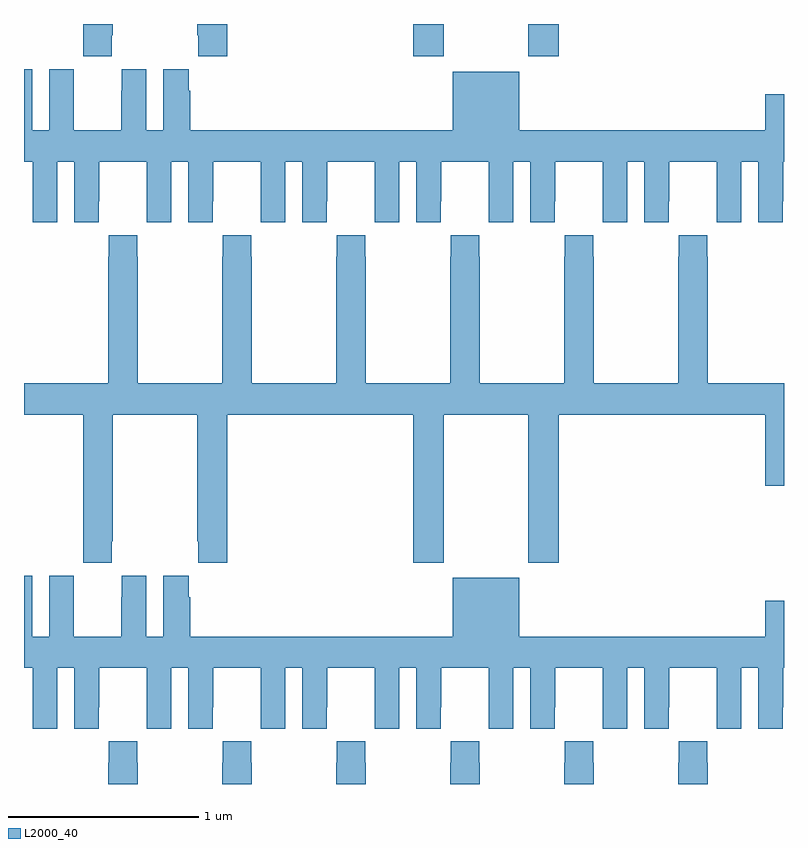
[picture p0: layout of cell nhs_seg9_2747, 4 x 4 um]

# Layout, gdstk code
import gdstk
lib = gdstk.Library(unit=1e-6, precision=1e-09)
def R(c, l, rs):  # rectangles x0, y0, x1, y1
    for r in rs: c.add(gdstk.rectangle(r[:2], r[2:], *l))
def P(c, l, *ps):  # polygons
    for p in ps: c.add(gdstk.Polygon(p, *l))
L2000_40 = (2000, 40)

nhs_seg9_2747 = lib.new_cell('nhs_seg9_2747')
R(nhs_seg9_2747, L2000_40, [(271.049,1174.329,271.209,1174.5), (271.654,1174.329,271.814,1174.5)])
P(nhs_seg9_2747, L2000_40, [(269.463,1174.441),(269.466,1174.441),(269.466,1174.5),(269.311,1174.5),(269.311,1174.441),(269.313,1174.441),(269.313,1174.329),(269.463,1174.329)],
  [(270.071,1174.5),(269.911,1174.5),(269.911,1174.441),(269.917,1174.441),(269.917,1174.329),(270.071,1174.329)],
  [(269.876,1174.148),(269.866,1174.148),(269.866,1174.261),(269.732,1174.261),(269.732,1173.94),(269.644,1173.94),(269.644,1174.261),(269.514,1174.261),(269.514,1174.148),(269.513,1174.148),(269.513,1173.94),(269.263,1173.94),(269.263,1174.148),(269.262,1174.148),(269.262,1174.261),(269.132,1174.261),(269.132,1173.94),(269.044,1173.94),(269.044,1174.261),(269,1174.261),(269,1173.776),(269.045,1173.776),(269.045,1173.568),(269.046,1173.568),(269.046,1173.456),(269.176,1173.456),(269.176,1173.776),(269.264,1173.776),(269.264,1173.456),(269.394,1173.456),(269.394,1173.568),(269.395,1173.568),(269.395,1173.776),(269.645,1173.776),(269.645,1173.568),(269.646,1173.568),(269.646,1173.456),(269.776,1173.456),(269.776,1173.776),(269.864,1173.776),(269.864,1173.456),(269.994,1173.456),(269.994,1173.568),(269.995,1173.568),(269.995,1173.776),(270.245,1173.776),(270.245,1173.568),(270.246,1173.568),(270.246,1173.456),(270.376,1173.456),(270.376,1173.776),(270.464,1173.776),(270.464,1173.456),(270.594,1173.456),(270.594,1173.568),(270.595,1173.568),(270.595,1173.776),(270.845,1173.776),(270.845,1173.568),(270.846,1173.568),(270.846,1173.456),(270.976,1173.456),(270.976,1173.776),(271.064,1173.776),(271.064,1173.456),(271.194,1173.456),(271.194,1173.568),(271.195,1173.568),(271.195,1173.776),(271.445,1173.776),(271.445,1173.568),(271.446,1173.568),(271.446,1173.456),(271.576,1173.456),(271.576,1173.776),(271.664,1173.776),(271.664,1173.456),(271.794,1173.456),(271.794,1173.568),(271.795,1173.568),(271.795,1173.776),(272.045,1173.776),(272.045,1173.568),(272.046,1173.568),(272.046,1173.456),(272.176,1173.456),(272.176,1173.776),(272.264,1173.776),(272.264,1173.456),(272.394,1173.456),(272.394,1173.568),(272.395,1173.568),(272.395,1173.776),(272.645,1173.776),(272.645,1173.568),(272.646,1173.568),(272.646,1173.456),(272.776,1173.456),(272.776,1173.776),(272.864,1173.776),(272.864,1173.456),(272.994,1173.456),(272.994,1173.568),(272.995,1173.568),(272.995,1173.776),(273,1173.776),(273,1174.129),(272.9,1174.129),(272.9,1173.94),(271.606,1173.94),(271.606,1174.249),(271.256,1174.249),(271.256,1173.94),(269.876,1173.94)],
  [(269.445,1173.275),(269.443,1173.275),(269.443,1172.608),(269,1172.608),(269,1172.444),(269.311,1172.444),(269.311,1171.777),(269.313,1171.777),(269.313,1171.665),(269.463,1171.665),(269.463,1171.777),(269.466,1171.777),(269.466,1172.444),(269.911,1172.444),(269.911,1171.777),(269.917,1171.777),(269.917,1171.665),(270.071,1171.665),(270.071,1172.444),(271.049,1172.444),(271.049,1171.665),(271.209,1171.665),(271.209,1172.444),(271.654,1172.444),(271.654,1171.665),(271.814,1171.665),(271.814,1172.444),(272.9,1172.444),(272.9,1172.07),(273,1172.07),(273,1172.608),(272.598,1172.608),(272.598,1173.275),(272.595,1173.275),(272.595,1173.388),(272.445,1173.388),(272.445,1173.275),(272.443,1173.275),(272.443,1172.608),(271.998,1172.608),(271.998,1173.275),(271.995,1173.275),(271.995,1173.388),(271.845,1173.388),(271.845,1173.275),(271.843,1173.275),(271.843,1172.608),(271.398,1172.608),(271.398,1173.275),(271.395,1173.275),(271.395,1173.388),(271.245,1173.388),(271.245,1173.275),(271.243,1173.275),(271.243,1172.608),(270.798,1172.608),(270.798,1173.275),(270.795,1173.275),(270.795,1173.388),(270.645,1173.388),(270.645,1173.275),(270.643,1173.275),(270.643,1172.608),(270.198,1172.608),(270.198,1173.275),(270.195,1173.275),(270.195,1173.388),(270.045,1173.388),(270.045,1173.275),(270.043,1173.275),(270.043,1172.608),(269.598,1172.608),(269.598,1173.275),(269.595,1173.275),(269.595,1173.388),(269.445,1173.388)],
  [(269.176,1171.112),(269.264,1171.112),(269.264,1170.792),(269.394,1170.792),(269.394,1170.904),(269.395,1170.904),(269.395,1171.112),(269.645,1171.112),(269.645,1170.904),(269.646,1170.904),(269.646,1170.792),(269.776,1170.792),(269.776,1171.112),(269.864,1171.112),(269.864,1170.792),(269.994,1170.792),(269.994,1170.904),(269.995,1170.904),(269.995,1171.112),(270.245,1171.112),(270.245,1170.904),(270.246,1170.904),(270.246,1170.792),(270.376,1170.792),(270.376,1171.112),(270.464,1171.112),(270.464,1170.792),(270.594,1170.792),(270.594,1170.904),(270.595,1170.904),(270.595,1171.112),(270.845,1171.112),(270.845,1170.904),(270.846,1170.904),(270.846,1170.792),(270.976,1170.792),(270.976,1171.112),(271.064,1171.112),(271.064,1170.792),(271.194,1170.792),(271.194,1170.904),(271.195,1170.904),(271.195,1171.112),(271.445,1171.112),(271.445,1170.904),(271.446,1170.904),(271.446,1170.792),(271.576,1170.792),(271.576,1171.112),(271.664,1171.112),(271.664,1170.792),(271.794,1170.792),(271.794,1170.904),(271.795,1170.904),(271.795,1171.112),(272.045,1171.112),(272.045,1170.904),(272.046,1170.904),(272.046,1170.792),(272.176,1170.792),(272.176,1171.112),(272.264,1171.112),(272.264,1170.792),(272.394,1170.792),(272.394,1170.904),(272.395,1170.904),(272.395,1171.112),(272.645,1171.112),(272.645,1170.904),(272.646,1170.904),(272.646,1170.792),(272.776,1170.792),(272.776,1171.112),(272.864,1171.112),(272.864,1170.792),(272.994,1170.792),(272.994,1170.904),(272.995,1170.904),(272.995,1171.112),(273,1171.112),(273,1171.465),(272.9,1171.465),(272.9,1171.276),(271.606,1171.276),(271.606,1171.585),(271.256,1171.585),(271.256,1171.276),(269.876,1171.276),(269.876,1171.484),(269.866,1171.484),(269.866,1171.597),(269.732,1171.597),(269.732,1171.276),(269.644,1171.276),(269.644,1171.597),(269.514,1171.597),(269.514,1171.484),(269.513,1171.484),(269.513,1171.276),(269.263,1171.276),(269.263,1171.484),(269.262,1171.484),(269.262,1171.597),(269.132,1171.597),(269.132,1171.276),(269.044,1171.276),(269.044,1171.597),(269,1171.597),(269,1171.112),(269.045,1171.112),(269.045,1170.904),(269.046,1170.904),(269.046,1170.792),(269.176,1170.792)],
  [(272.598,1170.611),(272.595,1170.611),(272.595,1170.724),(272.445,1170.724),(272.445,1170.611),(272.443,1170.611),(272.443,1170.5),(272.598,1170.5)],
  [(271.998,1170.611),(271.995,1170.611),(271.995,1170.724),(271.845,1170.724),(271.845,1170.611),(271.843,1170.611),(271.843,1170.5),(271.998,1170.5)],
  [(271.398,1170.611),(271.395,1170.611),(271.395,1170.724),(271.245,1170.724),(271.245,1170.611),(271.243,1170.611),(271.243,1170.5),(271.398,1170.5)],
  [(270.798,1170.611),(270.795,1170.611),(270.795,1170.724),(270.645,1170.724),(270.645,1170.611),(270.643,1170.611),(270.643,1170.5),(270.798,1170.5)],
  [(270.198,1170.611),(270.195,1170.611),(270.195,1170.724),(270.045,1170.724),(270.045,1170.611),(270.043,1170.611),(270.043,1170.5),(270.198,1170.5)],
  [(269.598,1170.611),(269.595,1170.611),(269.595,1170.724),(269.445,1170.724),(269.445,1170.611),(269.443,1170.611),(269.443,1170.5),(269.598,1170.5)])

lib.write_gds('nhs_seg9_2747.gds')
